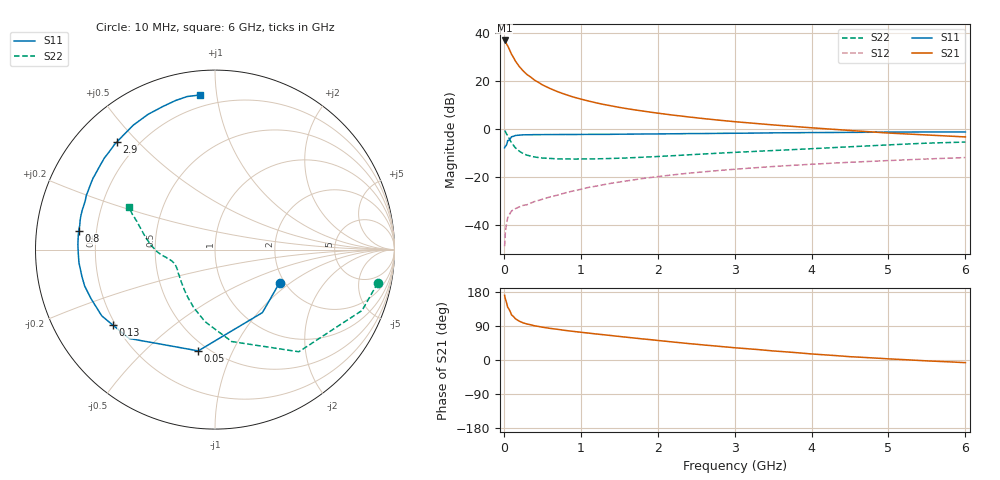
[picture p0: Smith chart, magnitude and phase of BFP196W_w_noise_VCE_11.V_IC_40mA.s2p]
! Infineon Technologies  Discrete & RF Semiconductors
! BFP196W
! VCE =  11. V,  IC =  40 mA
! Common Emitter S-Parameters:  Jan 2017
# GHz  S  MA  R  50
!  f  S11  S21  S12  S22
! GHz  MAG  ANG  MAG  ANG  MAG  ANG  MAG  ANG
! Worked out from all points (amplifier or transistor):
!   77 points, 10 MHz to 6 GHz, reference 50 ohm
!   highest |S21| = 36.9 dB at 10 MHz (marker M1)
!   |S21| within 3 dB of that: start of sweep to 61.22 MHz
!   unconditionally stable (mu >= 1): 809.5 MHz to 3.228 GHz
!   at 130 MHz: K = 0.35, MSG = 31.6 dB, |S12| = -33.6 dB
!   at 2.2 GHz: K = 1.05, MAG = 11.1 dB, |S12| = -19.1 dB
!   at 6 GHz: K = 0.91, MSG = 4.3 dB, |S12| = -11.9 dB
!   lowest NFmin = 1.24 dB at 450 MHz
!   S11 on the Smith chart (normalised r, x): 10 MHz: 1.89, -0.83; 50 MHz: 0.44, -0.75; 130 MHz: 0.19, -0.32; 800 MHz: 0.13, +0.07; 2.9 GHz: 0.12, +0.44; 6 GHz: 0.13, +0.90
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0.01  0.4044 -27.1  69.99 170.6  0.0036 74.2  0.9256 -11.6
0.02  0.4393 -53.0  66.8 161.0  0.007 69.7  0.8866 -22.5
0.05  0.572 -99.4  53.98 139.2  0.0141 52.0  0.7364 -50.6
0.1  0.6889 -134.1  36.14 119.0  0.0195 42.0  0.5208 -79.7
0.13  0.7079 -143.7  29.98 113.8  0.0209 40.3  0.4454 -89.6
0.15  0.731 -149.7  26.07 108.9  0.0218 39.3  0.4046 -98.0
0.2  0.7429 -158.4  20.12 102.5  0.0237 39.3  0.3449 -110.0
0.25  0.754 -164.4  16.32 98.1  0.0255 39.7  0.3075 -119.2
0.3  0.7564 -168.5  13.68 95.0  0.0263 41.8  0.2847 -126.3
0.4  0.7615 -174.5  10.4 90.2  0.0307 46.0  0.2601 -136.3
0.5  0.7621 -178.7  8.335 86.6  0.0342 48.9  0.248 -142.9
0.6  0.7645 177.9  6.977 83.5  0.0383 51.3  0.2429 -147.8
0.7  0.7652 175.0  5.974 80.9  0.0418 54.5  0.2379 -151.3
0.8  0.7672 172.2  5.241 78.0  0.0466 56.4  0.2367 -153.8
1.1  0.7709 165.4  3.825 71.0  0.0604 58.7  0.2375 -159.2
1.5  0.7779 157.2  2.818 62.2  0.0781 59.0  0.2458 -164.1
2.1  0.7904 145.7  2.038 49.6  0.106 56.5  0.2716 -170.1
2.9  0.8114 132.3  1.47 34.2  0.1404 51.1  0.319 -177.4
3.1  0.8157 129.2  1.375 30.8  0.1485 49.5  0.3308 -179.5
4.1  0.8418 114.9  1.031 14.6  0.1874 41.9  0.3947 169.6
5.1  0.8603 103.9  0.807 2.0  0.2227 34.2  0.4734 159.2
6  0.8652 95.5  0.682 -7.0  0.2536 27.4  0.5329 153.6
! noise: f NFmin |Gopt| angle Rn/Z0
0.45  1.24  0.48  -179  0.06
0.9  1.39  0.54  -173  0.06
1.9  2.21  0.69  -150  0.14
2.4  2.61  0.73  -145  0.23
